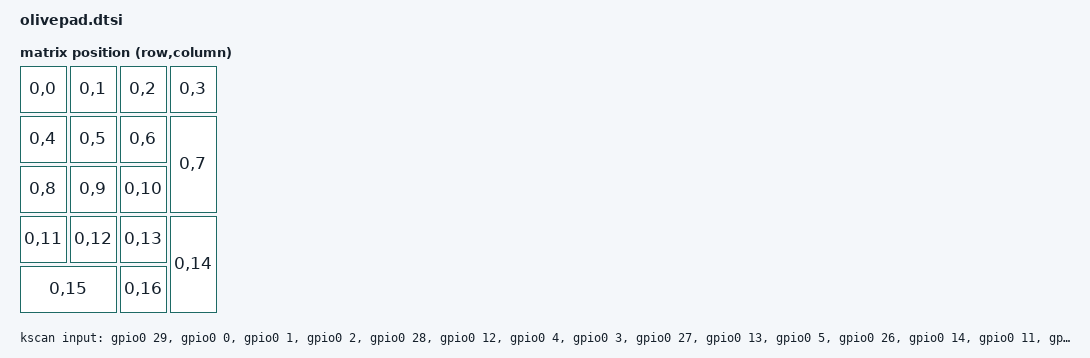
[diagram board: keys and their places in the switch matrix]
#include <physical_layouts.dtsi>
#include <dt-bindings/zmk/matrix_transform.h>

/ {
    chosen {
        zmk,physical-layout = &layout;
    };

    transform: transform {
        compatible = "zmk,matrix-transform";
        rows = <1>;
        columns = <17>;

        map = <
            RC(0,0)  RC(0,1)  RC(0,2)  RC(0,3)
            RC(0,4)  RC(0,5)  RC(0,6)  RC(0,7)
            RC(0,8)  RC(0,9)  RC(0,10)
            RC(0,11) RC(0,12) RC(0,13) RC(0,14)
            RC(0,15) RC(0,16)
        >;
    };
    
    layout: layout {
        compatible = "zmk,physical-layout";
        display-name = "Numpad";

        kscan = <&kscan>;
        transform = <&transform>;

        keys  //                     w   h    x    y     rot    rx    ry
            = <&key_physical_attrs 100 100    0    0       0     0     0>
            , <&key_physical_attrs 100 100  100    0       0     0     0>
            , <&key_physical_attrs 100 100  200    0       0     0     0>
            , <&key_physical_attrs 100 100  300    0       0     0     0>
            , <&key_physical_attrs 100 100    0  100       0     0     0>
            , <&key_physical_attrs 100 100  100  100       0     0     0>
            , <&key_physical_attrs 100 100  200  100       0     0     0>
            , <&key_physical_attrs 100 200  300  100       0     0     0>
            , <&key_physical_attrs 100 100    0  200       0     0     0>
            , <&key_physical_attrs 100 100  100  200       0     0     0>
            , <&key_physical_attrs 100 100  200  200       0     0     0>
            , <&key_physical_attrs 100 100    0  300       0     0     0>
            , <&key_physical_attrs 100 100  100  300       0     0     0>
            , <&key_physical_attrs 100 100  200  300       0     0     0>
            , <&key_physical_attrs 100 200  300  300       0     0     0>
            , <&key_physical_attrs 200 100    0  400       0     0     0>
            , <&key_physical_attrs 100 100  200  400       0     0     0>
            ;
    };

    kscan: kscan {
        compatible = "zmk,kscan-gpio-direct";
        label = "KSCAN";
        input-gpios = 
            <&gpio0 29 (GPIO_ACTIVE_HIGH | GPIO_PULL_DOWN)>,
            <&gpio0 0 (GPIO_ACTIVE_HIGH | GPIO_PULL_DOWN)>,
            <&gpio0 1 (GPIO_ACTIVE_HIGH | GPIO_PULL_DOWN)>,
            <&gpio0 2 (GPIO_ACTIVE_HIGH | GPIO_PULL_DOWN)>,

            <&gpio0 28 (GPIO_ACTIVE_HIGH | GPIO_PULL_DOWN)>,
            <&gpio0 12 (GPIO_ACTIVE_HIGH | GPIO_PULL_DOWN)>,
            <&gpio0 4 (GPIO_ACTIVE_HIGH | GPIO_PULL_DOWN)>,
            <&gpio0 3 (GPIO_ACTIVE_HIGH | GPIO_PULL_DOWN)>,

            <&gpio0 27 (GPIO_ACTIVE_HIGH | GPIO_PULL_DOWN)>,
            <&gpio0 13 (GPIO_ACTIVE_HIGH | GPIO_PULL_DOWN)>,
            <&gpio0 5 (GPIO_ACTIVE_HIGH | GPIO_PULL_DOWN)>,

            <&gpio0 26 (GPIO_ACTIVE_HIGH | GPIO_PULL_DOWN)>,
            <&gpio0 14 (GPIO_ACTIVE_HIGH | GPIO_PULL_DOWN)>,
            <&gpio0 11 (GPIO_ACTIVE_HIGH | GPIO_PULL_DOWN)>,
            <&gpio0 6 (GPIO_ACTIVE_HIGH | GPIO_PULL_DOWN)>,

            <&gpio0 15 (GPIO_ACTIVE_HIGH | GPIO_PULL_DOWN)>,
            <&gpio0 10 (GPIO_ACTIVE_HIGH | GPIO_PULL_DOWN)>;
    };
};
